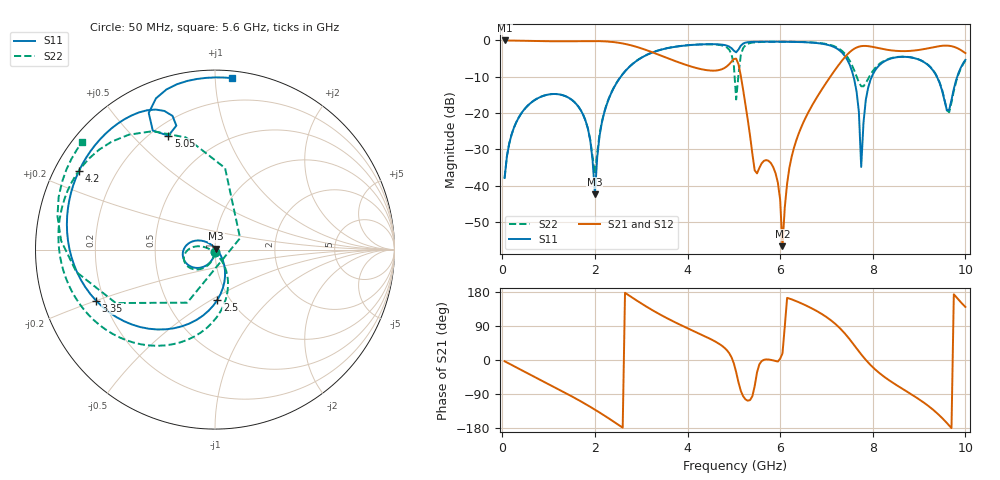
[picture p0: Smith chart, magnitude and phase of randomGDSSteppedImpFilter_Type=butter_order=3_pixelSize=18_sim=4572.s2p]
! freq	dB(S11)	phase(S11)	dB(S12)	phase(S12)
!  dB(S21)	phase(S21)	dB(S22)	phase(S22)
!S-par simulation data
#  GHz  S  DB  R 50
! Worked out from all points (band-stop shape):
!   200 points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, 50 MHz to 10 GHz, reference 50 ohm
!   highest |S21| = -0.01 dB at 50 MHz (marker M1); lowest = -56.7 dB at 6.05 GHz (marker M2)
!   |S21| within 3 dB of the highest: start of sweep to 3.186 GHz; 7.523 GHz to 9.945 GHz (2.422 GHz wide, 27.7 % of centre)
!   lowest |S11| = -42.4 dB at 2 GHz (marker M3), VSWR 1.02, Z = 50.6 + j0.484 ohm
!   |S11| at or under -10 dB: start of sweep to 2.558 GHz; 7.585 GHz to 7.979 GHz (394.7 MHz wide, 5.07 % of centre); 9.383 GHz to 9.824 GHz (441.3 MHz wide, 4.59 % of centre)
!   |S22| runs from -37.9 to -0.4 dB; largest |S21 - S12| = 0
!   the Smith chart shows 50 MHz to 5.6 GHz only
!   S11 on the Smith chart (normalised r, x): 50 MHz: 1.00, -0.03; 2.5 GHz: 0.88, -0.53; 3.35 GHz: 0.17, -0.20; 4.2 GHz: 0.07, +0.27; 5.05 GHz: 0.27, +0.64; 5.6 GHz: 0.04, +1.11
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0.05  -37.90 -92.5  -0.01 -3.3  -0.01 -3.3  -37.89 -92.1
0.65  -16.86 -134.6  -0.15 -41.6  -0.15 -41.6  -16.86 -129.7
1.75  -20.59 147.5  -0.18 -112.9  -0.18 -112.9  -20.58 168.4
2  -42.35 38.8  -0.17 -131.0  -0.17 -131.0  -36.73 -121.2
2.5  -11.07 -87.2  -0.62 -170.4  -0.62 -170.4  -11.00 -77.6
3.35  -2.84 -156.7  -3.80 123.9  -3.80 123.9  -2.81 -137.6
3.4  -2.65 -160.3  -4.05 120.5  -4.05 120.5  -2.62 -140.8
4.2  -1.15 149.9  -7.63 72.5  -7.63 72.5  -1.15 174.8
4.9  -1.70 110.1  -6.55 18.0  -6.55 18.0  -2.55 117.7
5.05  -3.28 112.2  -5.03 -32.1  -5.03 -32.1  -16.26 24.7
5.25  -0.61 106.9  -17.58 -103.8  -17.58 -103.8  -1.33 176.8
5.6  -0.35 84.2  -33.87 -2.9  -33.87 -2.9  -0.42 140.9
5.9  -0.35 67.9  -36.56 -2.5  -36.56 -2.5  -0.36 124.5
6.05  -0.37 59.7  -56.68 17.4  -56.68 17.4  -0.36 117.2
6.25  -0.40 48.5  -31.96 160.0  -31.96 160.0  -0.38 107.5
6.7  -0.62 20.7  -17.68 135.2  -17.68 135.2  -0.55 84.4
7.5  -6.64 -63.0  -3.25 54.8  -3.25 54.8  -5.53 24.6
7.75  -34.86 -159.2  -1.58 14.9  -1.58 14.9  -12.61 43.0
7.9  -13.03 58.8  -1.58 -6.6  -1.58 -6.6  -10.57 72.9
8.35  -5.16 10.9  -2.65 -53.2  -2.65 -53.2  -5.05 57.6
9.65  -19.13 -3.0  -1.48 -172.9  -1.48 -172.9  -19.77 41.5
10  -5.36 14.1  -3.49 140.0  -3.49 140.0  -5.55 60.9
